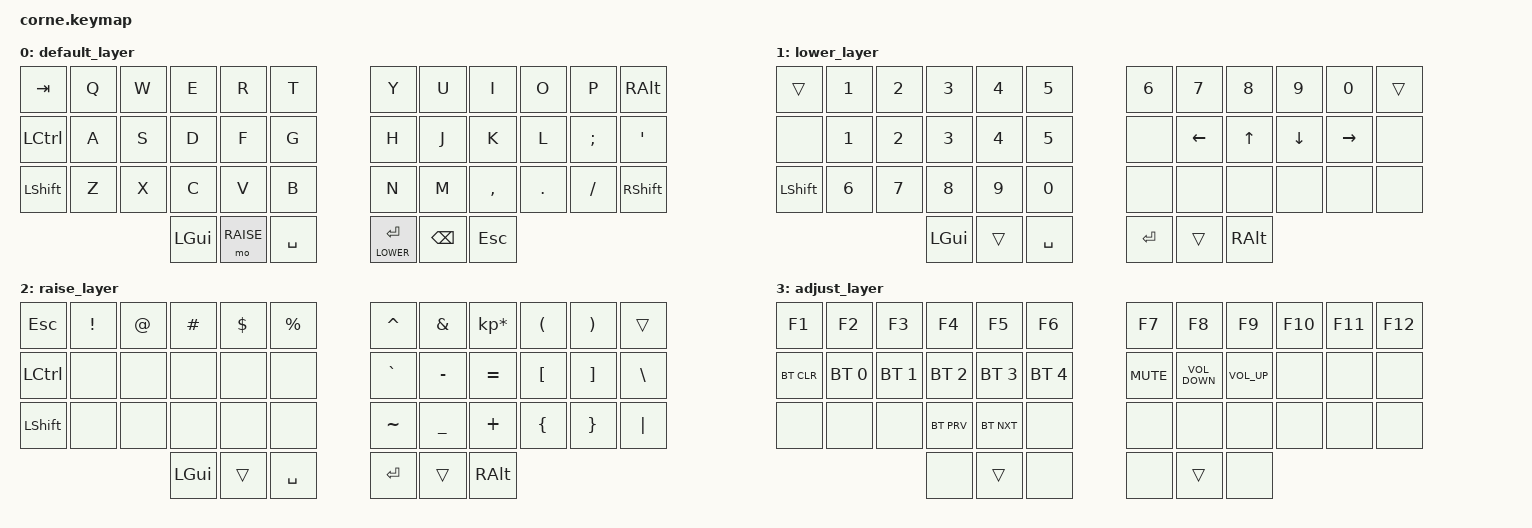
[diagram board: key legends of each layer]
/*
 * Copyright (c) 2020 The ZMK Contributors
 *
 * SPDX-License-Identifier: MIT
 */

#include <behaviors.dtsi>
#include <dt-bindings/zmk/keys.h>
#include <dt-bindings/zmk/bt.h>

#define DEFAULT 0
#define LOWER   1
#define RAISE   2
#define ADJUST  3

/ {
   conditional_layers {
     compatible = "zmk,conditional-layers";
     tri_layer {
       if-layers = <LOWER RAISE>;
       then-layer = <ADJUST>;
     };
   };

   keymap {
      compatible = "zmk,keymap";

      // -----------------------------------------------------------------------------------------
      // |  TAB |  Q  |  W  |  E  |  R  |  T  |   |  Y  |  U   |  I  |  O  |  P  | BKSP |
      // | CTRL |  A  |  S  |  D  |  F  |  G  |   |  H  |  J   |  K  |  L  |  ;  |  '   |
      // | SHFT |  Z  |  X  |  C  |  V  |  B  |   |  N  |  M   |  ,  |  .  |  /  | SHFT |
      //                    | GUI | LWR | SPC |   | ENT | RSE  | ALT |
      default_layer {
         bindings = <
            &kp TAB   &kp Q &kp W &kp E &kp R &kp T       &kp Y &kp U  &kp I     &kp O   &kp P    &kp RALT
            &kp LCTRL &kp A &kp S &kp D &kp F &kp G       &kp H &kp J  &kp K     &kp L   &kp SEMI &kp SQT
            &kp LSHFT &kp Z &kp X &kp C &kp V &kp B       &kp N &kp M  &kp COMMA &kp DOT &kp FSLH &kp RSHFT
                           &kp LGUI &mo RAISE &kp SPACE   &lt LOWER RET &kp BSPC &kp ESC
         >;
      };

      // -----------------------------------------------------------------------------------------
      // |  TAB |  1  |  2  |  3  |  4  |  5  |   |  6  |  7  |  8  |  9  |  0  | BKSP |
      // |      |     |     |     |     |     |   | LFT | DWN |  UP | RGT |     |      |
      // | SHFT |     |     |     |     |     |   |     |     |     |     |     |      |
      //                    | GUI | LWR | SPC |   | ENT | RSE | ALT |
      lower_layer {
         bindings = <
            &trans &kp N1 &kp N2 &kp N3 &kp N4 &kp N5         &kp N6 &kp N7 &kp N8 &kp N9 &kp N0 &trans
            &none  &kp N1 &kp N2 &kp N3 &kp N4 &kp N5         &none &kp LEFT &kp UP &kp DOWN &kp RIGHT &none
            &kp LSHFT &kp N6 &kp N7 &kp N8 &kp N9 &kp N0      &none &none &none &none &none &none
                           &kp LGUI &trans &kp SPACE          &kp RET &trans &kp RALT
         >;
      };

      // -----------------------------------------------------------------------------------------
      // |  ESC |  !  |  @  |  #  |  $  |  %  |   |  ^  |  &  |  *  |  (  |  )  | BKSP |
      // | CTRL |     |     |     |     |     |   |  `  |  -  |  =  |  [  |  ]  |  \   |
      // | SHFT |     |     |     |     |     |   | ~   |  _  |  +  |  {  |  }  | "|"  |
      //                    | GUI | LWR | SPC |   | ENT | RSE | ALT |
      raise_layer {
         bindings = <
            &kp ESC &kp EXCL &kp AT &kp HASH &kp DLLR  &kp PRCNT &kp CARET &kp AMPS &kp KP_MULTIPLY &kp LPAR &kp RPAR &trans
            &kp LCTRL &none &none &none &none &none    &kp GRAVE &kp MINUS &kp EQUAL &kp LBKT &kp RBKT &kp BSLH
            &kp LSHFT &none &none &none &none &none    &kp TILDE &kp UNDER &kp PLUS  &kp LBRC &kp RBRC &kp PIPE 
                          &kp LGUI &trans &kp SPACE    &kp RET &trans &kp RALT
         >;
      };

      // -----------------------------------------------------------------------------------------
      // |  F1  |  F2 |  F3 | F4  |  F5 |  F6 |   | F7  |  F8 |  F9 | F10 | F11 | F12  |
      // | BTCLR| BT1 | BT2 | BT3 | BT4 | BT5 |   | MUT | Vo- | Vo+ |     |     |      |
      // |      |     |     | BTP | BTN |     |   |     |     |     |     |     |      |
      //                    |     | LWR |     |   |     | RSE |     |
      adjust_layer {
         bindings = <
            &kp F1 &kp F2 &kp F3 &kp F4 &kp F5 &kp F6     &kp F7 &kp F8 &kp F9 &kp F10 &kp F11 &kp F12
            &bt BT_CLR &bt BT_SEL 0 &bt BT_SEL 1 &bt BT_SEL 2 &bt BT_SEL 3 &bt BT_SEL 4     &kp C_MUTE &kp C_VOLUME_DOWN &kp C_VOLUME_UP &none &none &none
            &none &none &none &bt BT_PRV &bt BT_NXT &none     &none &none &none &none &none &none
                         &none &trans &none     &none &trans &none
         >;
      };
   };
};
